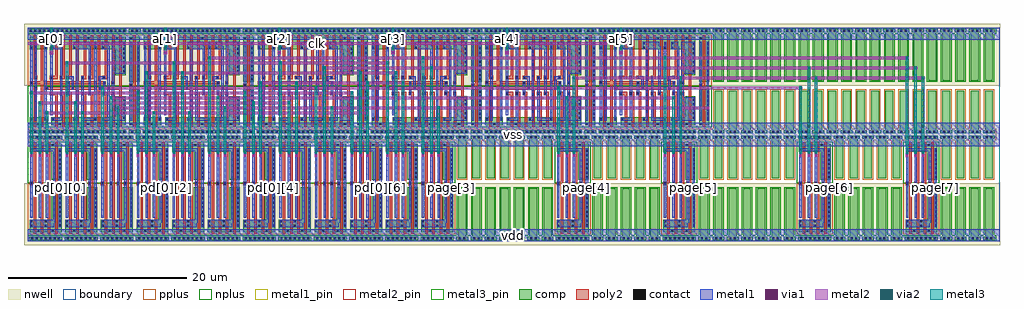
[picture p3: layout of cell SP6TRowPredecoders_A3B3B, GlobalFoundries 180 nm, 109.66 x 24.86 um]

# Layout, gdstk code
import gdstk
lib = gdstk.Library(unit=1e-6, precision=1e-09)
def R(c, l, rs):  # rectangles x0, y0, x1, y1
    for r in rs: c.add(gdstk.rectangle(r[:2], r[2:], *l))
def A(c, l, x, y, w, h, nx, ny, dx, dy):  # array of equal rectangles
    R(c, l, [(x+i*dx, y+j*dy, x+i*dx+w, y+j*dy+h) for i in range(nx) for j in range(ny)])
def P(c, l, *ps):  # polygons
    for p in ps: c.add(gdstk.Polygon(p, *l))
boundary = (0, 0)
nwell = (21, 0)
comp = (22, 0)
poly2 = (30, 0)
pplus = (31, 0)
nplus = (32, 0)
contact = (33, 0)
metal1 = (34, 0)
metal1_pin = (34, 10)
via1 = (35, 0)
metal2 = (36, 0)
metal2_pin = (36, 10)
via2 = (38, 0)
metal3 = (42, 0)
metal3_pin = (42, 10)

dec_dff_x1 = lib.new_cell('Dec_dff_x1')
R(dec_dff_x1, nwell, [(-0.43,5.5,11.63,12.43)])
R(dec_dff_x1, comp, [(0.14,0.14,11.06,0.5), (0.22,1.045,2.18,1.925), (0.22,9.555,2.18,10.955), (0.14,11.5,11.06,11.86)])
P(dec_dff_x1, comp, [(9.84,6.68),(9.84,9.555),(2.62,9.555),(2.62,10.955),(11,10.955),(11,6.68)],
  [(2.62,1.045),(2.62,1.925),(9.84,1.925),(9.84,4.32),(11,4.32),(11,1.045)])
P(dec_dff_x1, poly2, [(1.46,0.825),(1.46,5.62),(0.22,5.62),(0.22,5.98),(1.46,5.98),(1.46,11.175),(1.74,11.175),(1.74,5.98),(5.46,5.98),(5.46,11.175),(5.74,11.175),(5.74,5.98),(7.86,5.98),(7.86,11.175),(8.14,11.175),(8.14,5.98),(8.76,5.98),(8.76,5.62),(1.74,5.62),(1.74,0.825)],
  [(8.66,0.825),(8.66,4.42),(8.4,4.42),(8.4,4.78),(8.94,4.78),(8.94,0.825)],
  [(4.66,0.825),(4.66,4.42),(4.38,4.42),(4.38,4.78),(4.94,4.78),(4.94,0.825)],
  [(0.66,6.22),(0.66,11.175),(0.94,11.175),(0.94,6.58),(1.07,6.58),(1.07,6.22)],
  [(0.66,0.825),(0.66,5.38),(1.07,5.38),(1.07,5.02),(0.94,5.02),(0.94,0.825)],
  [(5.46,0.825),(5.46,5.02),(1.98,5.02),(1.98,5.38),(8.27,5.38),(8.27,5.02),(8.14,5.02),(8.14,0.825),(7.86,0.825),(7.86,5.02),(5.74,5.02),(5.74,0.825)],
  [(4.38,6.22),(4.38,6.58),(4.66,6.58),(4.66,11.175),(4.94,11.175),(4.94,6.22)],
  [(8.38,6.22),(8.38,6.58),(8.66,6.58),(8.66,11.175),(8.94,11.175),(8.94,6.22)],
  [(3.86,0.825),(3.86,4.42),(3.58,4.42),(3.58,4.78),(4.14,4.78),(4.14,0.825)],
  [(3.58,6.22),(3.58,6.58),(3.86,6.58),(3.86,11.175),(4.14,11.175),(4.14,6.22)],
  [(3.06,0.825),(3.06,4.42),(2.47,4.42),(2.47,4.78),(3.34,4.78),(3.34,0.825)],
  [(2.47,6.22),(2.47,6.58),(3.06,6.58),(3.06,11.175),(3.34,11.175),(3.34,6.22)],
  [(7.06,0.825),(7.06,4.42),(6.78,4.42),(6.78,4.78),(7.34,4.78),(7.34,0.825)],
  [(6.78,6.22),(6.78,6.58),(7.06,6.58),(7.06,11.175),(7.34,11.175),(7.34,6.22)],
  [(6.26,0.825),(6.26,4.42),(5.98,4.42),(5.98,4.78),(6.54,4.78),(6.54,0.825)],
  [(5.98,6.22),(5.98,6.58),(6.26,6.58),(6.26,11.175),(6.54,11.175),(6.54,6.22)],
  [(10.28,0.825),(10.28,5.02),(8.89,5.02),(8.89,5.38),(10.28,5.38),(10.28,11.175),(10.56,11.175),(10.56,0.825)],
  [(9.46,0.825),(9.46,4.42),(9.38,4.42),(9.38,4.78),(9.74,4.78),(9.74,0.825)],
  [(9.38,5.62),(9.38,5.98),(9.46,5.98),(9.46,11.175),(9.74,11.175),(9.74,5.62)])
R(dec_dff_x1, pplus, [(-0.02,-0.02,11.22,0.66), (-0.02,5.5,11.22,11.185)])
R(dec_dff_x1, nplus, [(-0.02,0.815,11.22,5.5), (-0.02,11.34,11.22,12.02)])
A(dec_dff_x1, contact, 0.24, 0.21, 0.22, 0.22, 22, 2, 0.5, 11.36)
A(dec_dff_x1, contact, 2.69, 1.63, 0.22, 0.22, 3, 2, 2.4, 8.01)
A(dec_dff_x1, contact, 10.71, 1.775, 0.22, 0.22, 1, 5, 0, 0.5)
A(dec_dff_x1, contact, 10.71, 7.005, 0.22, 0.22, 1, 7, 0, 0.5)
A(dec_dff_x1, contact, 2.69, 10.14, 0.22, 0.22, 3, 1, 2.4, 0)
R(dec_dff_x1, contact, [(1.09,1.115,1.31,1.335), (3.49,1.115,3.71,1.335), (6.69,1.115,6.91,1.335), (9.91,1.115,10.13,1.335), (0.29,1.63,0.51,1.85), (1.89,1.63,2.11,1.85), (8.29,1.63,8.51,1.85), (2.54,4.49,2.76,4.71), (3.65,4.49,3.87,4.71), (4.45,4.49,4.67,4.71), (6.05,4.49,6.27,4.71), (6.85,4.49,7.07,4.71), (8.47,4.49,8.69,4.71), (9.45,4.49,9.67,4.71), (0.78,5.09,1,5.31), (2.05,5.09,2.27,5.31), (4.94,5.09,5.16,5.31), (7.98,5.09,8.2,5.31), (8.96,5.09,9.18,5.31), (0.29,5.69,0.51,5.91), (4.45,5.69,4.67,5.91), (8.47,5.69,8.69,5.91), (9.45,5.69,9.67,5.91), (0.78,6.29,1,6.51), (2.54,6.29,2.76,6.51), (3.65,6.29,3.87,6.51), (4.45,6.29,4.67,6.51), (6.05,6.29,6.27,6.51), (6.85,6.29,7.07,6.51), (8.45,6.29,8.67,6.51), (0.29,9.64,0.51,9.86), (1.89,9.64,2.11,9.86), (8.29,9.64,8.51,9.86), (0.29,10.14,0.51,10.36), (1.89,10.14,2.11,10.36), (8.29,10.14,8.51,10.36), (1.09,10.665,1.31,10.885), (3.49,10.665,3.71,10.885), (6.69,10.665,6.91,10.885), (9.91,10.665,10.13,10.885)])
R(dec_dff_x1, metal1, [(0,0,11.2,1.34), (0.76,1.57,1.02,10.43), (2.52,2.14,2.78,9.35), (4.43,4.43,4.69,5.97), (8.45,4.43,8.71,5.97), (0,10.66,11.2,12)])
P(dec_dff_x1, metal1, [(0.27,1.57),(0.27,9.92),(0.285,9.92),(0.285,10.43),(0.515,10.43),(0.515,9.92),(0.53,9.92),(0.53,1.57)],
  [(1.87,1.57),(1.87,9.92),(1.885,9.92),(1.885,10.43),(2.115,10.43),(2.115,9.92),(2.13,9.92),(2.13,5.37),(2.275,5.37),(2.275,5.03),(2.13,5.03),(2.13,1.57)],
  [(7.96,5.03),(7.96,6.57),(8.675,6.57),(8.675,6.23),(8.22,6.23),(8.22,5.03)],
  [(4.92,5.03),(4.92,6.23),(4.445,6.23),(4.445,6.57),(5.18,6.57),(5.18,5.03)],
  [(2.685,1.57),(2.685,1.91),(3.63,1.91),(3.63,9.58),(2.685,9.58),(2.685,10.43),(3.76,10.43),(3.76,9.92),(3.89,9.92),(3.89,1.57)],
  [(5.085,1.57),(5.085,1.91),(5.41,1.91),(5.41,9.58),(5.085,9.58),(5.085,10.43),(6.96,10.43),(6.96,9.92),(7.09,9.92),(7.09,4.43),(6.83,4.43),(6.83,9.58),(5.67,9.58),(5.67,1.57)],
  [(6.03,1.57),(6.03,6.57),(6.29,6.57),(6.29,1.91),(7.47,1.91),(7.47,9.92),(7.485,9.92),(7.485,10.43),(7.715,10.43),(7.715,9.92),(7.73,9.92),(7.73,1.57)],
  [(8.285,1.57),(8.285,1.91),(8.94,1.91),(8.94,9.58),(8.285,9.58),(8.285,10.43),(9.07,10.43),(9.07,9.92),(9.2,9.92),(9.2,1.57)],
  [(9.43,1.57),(9.43,10.43),(10.935,10.43),(10.935,6.8),(9.69,6.8),(9.69,4.2),(10.935,4.2),(10.935,1.57)])
R(dec_dff_x1, metal1_pin, [(0,0,11.2,1.34), (0.76,1.57,1.02,10.43), (9.43,1.57,9.69,10.43), (2.52,2.14,2.78,9.35), (0,10.66,11.2,12)])
dec_dff_x1.add(gdstk.Label('vdd', (5.6,11.33), layer=34, texttype=10))
dec_dff_x1.add(gdstk.Label('vss', (5.6,0.67), layer=34, texttype=10))
dec_dff_x1.add(gdstk.Label('clk', (0.89,6), layer=34, texttype=10))
dec_dff_x1.add(gdstk.Label('i', (2.65,5.745), layer=34, texttype=10))
dec_dff_x1.add(gdstk.Label('q', (9.56,6), layer=34, texttype=10))

dec_inv_x1 = lib.new_cell('Dec_inv_x1')
R(dec_inv_x1, nwell, [(-0.43,5.5,2.03,12.43)])
R(dec_inv_x1, comp, [(0.14,0.14,1.46,0.5), (0.22,1.045,1.38,5.07), (0.22,5.93,1.38,10.955), (0.14,11.5,1.46,11.86)])
P(dec_inv_x1, poly2, [(0.66,0.825),(0.66,5.32),(0.22,5.32),(0.22,5.68),(0.66,5.68),(0.66,11.175),(0.94,11.175),(0.94,0.825)])
R(dec_inv_x1, pplus, [(-0.02,-0.02,1.62,0.66), (-0.02,5.5,1.62,11.185)])
R(dec_inv_x1, nplus, [(-0.02,0.815,1.62,5.5), (-0.02,11.34,1.62,12.02)])
A(dec_inv_x1, contact, 1.09, 1.705, 0.22, 0.22, 1, 7, 0, 0.5)
A(dec_inv_x1, contact, 1.09, 6.075, 0.22, 0.22, 1, 9, 0, 0.5)
R(dec_inv_x1, contact, [(0.44,0.21,0.66,0.43), (0.94,0.21,1.16,0.43), (0.29,1.115,0.51,1.335), (0.29,5.39,0.51,5.61), (0.29,10.665,0.51,10.885), (0.44,11.57,0.66,11.79), (0.94,11.57,1.16,11.79)])
R(dec_inv_x1, metal1, [(0,0,1.6,1.34), (0.27,1.57,0.53,10.43), (1.07,1.57,1.33,10.43), (0,10.66,1.6,12)])
R(dec_inv_x1, metal1_pin, [(0,0,1.6,1.34), (0.27,1.57,0.53,10.43), (1.07,1.57,1.33,10.43), (0,10.66,1.6,12)])
dec_inv_x1.add(gdstk.Label('vss', (0.8,0.67), layer=34, texttype=10))
dec_inv_x1.add(gdstk.Label('vdd', (0.8,11.33), layer=34, texttype=10))
dec_inv_x1.add(gdstk.Label('nq', (1.2,6), layer=34, texttype=10))
dec_inv_x1.add(gdstk.Label('i', (0.4,6), layer=34, texttype=10))

dec_tie_diff_w2 = lib.new_cell('Dec_tie_diff_w2')
R(dec_tie_diff_w2, nwell, [(-0.43,5.5,2.03,12.43)])
P(dec_tie_diff_w2, comp, [(0.36,6.06),(0.36,11.5),(0.14,11.5),(0.14,11.86),(1.46,11.86),(1.46,11.5),(1.24,11.5),(1.24,6.06)],
  [(0.14,0.14),(0.14,0.5),(0.36,0.5),(0.36,4.94),(1.24,4.94),(1.24,0.5),(1.46,0.5),(1.46,0.14)])
P(dec_tie_diff_w2, pplus, [(-0.02,-0.02),(-0.02,0.66),(0.2,0.66),(0.2,5.1),(1.4,5.1),(1.4,0.66),(1.62,0.66),(1.62,-0.02)])
P(dec_tie_diff_w2, nplus, [(0.2,5.9),(0.2,11.34),(-0.02,11.34),(-0.02,12.02),(1.62,12.02),(1.62,11.34),(1.4,11.34),(1.4,5.9)])
R(dec_tie_diff_w2, contact, [(0.44,0.21,0.66,0.43), (0.94,0.21,1.16,0.43), (0.44,11.57,0.66,11.79), (0.94,11.57,1.16,11.79)])
R(dec_tie_diff_w2, metal1, [(0,0,1.6,1.34), (0,10.66,1.6,12)])
R(dec_tie_diff_w2, metal1_pin, [(0,0,1.6,1.34), (0,10.66,1.6,12)])
dec_tie_diff_w2.add(gdstk.Label('vdd', (0.8,11.33), layer=34, texttype=10))
dec_tie_diff_w2.add(gdstk.Label('vss', (0.8,0.67), layer=34, texttype=10))

dec_and3_x1 = lib.new_cell('Dec_and3_x1')
R(dec_and3_x1, nwell, [(-0.43,5.5,4.43,12.43)])
R(dec_and3_x1, comp, [(0.14,0.14,3.86,0.5), (0.14,11.5,3.86,11.86)])
P(dec_and3_x1, comp, [(2.64,5.93),(2.64,9.555),(0.22,9.555),(0.22,10.955),(3.8,10.955),(3.8,5.93)],
  [(0.22,1.045),(0.22,1.925),(2.64,1.925),(2.64,5.07),(3.8,5.07),(3.8,1.045)])
P(dec_and3_x1, poly2, [(3.08,0.825),(3.08,5.32),(2.78,5.32),(2.78,5.68),(3.08,5.68),(3.08,11.175),(3.36,11.175),(3.36,0.825)],
  [(0.66,0.825),(0.66,5.32),(0.22,5.32),(0.22,5.68),(0.66,5.68),(0.66,11.175),(0.94,11.175),(0.94,0.825)],
  [(1.46,0.825),(1.46,5.32),(1.18,5.32),(1.18,5.68),(1.46,5.68),(1.46,11.175),(1.74,11.175),(1.74,0.825)],
  [(2.26,0.825),(2.26,5.32),(1.98,5.32),(1.98,5.68),(2.26,5.68),(2.26,11.175),(2.54,11.175),(2.54,0.825)])
R(dec_and3_x1, pplus, [(-0.02,-0.02,4.02,0.66), (-0.02,5.5,4.02,11.185)])
R(dec_and3_x1, nplus, [(-0.02,0.815,4.02,5.5), (-0.02,11.34,4.02,12.02)])
A(dec_and3_x1, contact, 0.39, 0.21, 0.22, 0.22, 7, 2, 0.5, 11.36)
A(dec_and3_x1, contact, 3.51, 1.705, 0.22, 0.22, 1, 7, 0, 0.5)
A(dec_and3_x1, contact, 1.25, 5.39, 0.22, 0.22, 3, 1, 0.8, 0)
A(dec_and3_x1, contact, 3.51, 6.075, 0.22, 0.22, 1, 9, 0, 0.5)
R(dec_and3_x1, contact, [(2.71,1.115,2.93,1.335), (0.29,1.63,0.51,1.85), (0.29,5.39,0.51,5.61), (0.29,9.64,0.51,9.86), (1.89,9.64,2.11,9.86), (0.29,10.14,0.51,10.36), (1.89,10.14,2.11,10.36), (1.09,10.665,1.31,10.885), (2.71,10.665,2.93,10.885)])
R(dec_and3_x1, metal1, [(0,0,4,1.34), (3.49,1.57,3.75,10.43), (0.27,2.14,0.53,9.35), (1.23,2.14,1.49,9.35), (2.03,2.14,2.29,9.35), (0,10.66,4,12)])
P(dec_and3_x1, metal1, [(0.285,1.57),(0.285,1.91),(2.83,1.91),(2.83,9.58),(0.285,9.58),(0.285,10.43),(2.96,10.43),(2.96,9.92),(3.09,9.92),(3.09,1.57)])
R(dec_and3_x1, metal1_pin, [(0,0,4,1.34), (3.49,1.57,3.75,10.43), (0.27,2.14,0.53,9.35), (1.23,2.14,1.49,9.35), (2.03,2.14,2.29,9.35), (0,10.66,4,12)])
dec_and3_x1.add(gdstk.Label('vdd', (2,11.33), layer=34, texttype=10))
dec_and3_x1.add(gdstk.Label('vss', (2,0.67), layer=34, texttype=10))
dec_and3_x1.add(gdstk.Label('i0', (0.4,5.745), layer=34, texttype=10))
dec_and3_x1.add(gdstk.Label('i1', (1.36,5.745), layer=34, texttype=10))
dec_and3_x1.add(gdstk.Label('i2', (2.16,5.745), layer=34, texttype=10))
dec_and3_x1.add(gdstk.Label('q', (3.62,6), layer=34, texttype=10))

sp6trowpredecoders_a3b3b = lib.new_cell('SP6TRowPredecoders_A3B3B')
R(sp6trowpredecoders_a3b3b, boundary, [(0,0,109.2,24)])
A(sp6trowpredecoders_a3b3b, metal1, 3.49, 1.57, 0.26, 8.86, 12, 1, 4, 0)
A(sp6trowpredecoders_a3b3b, metal1, 2.52, 20.97, 0.26, 0.38, 6, 1, 12.8, 0)
A(sp6trowpredecoders_a3b3b, metal1, 0.76, 22.05, 0.26, 0.38, 6, 1, 12.8, 0)
R(sp6trowpredecoders_a3b3b, metal1, [(0,0,109.2,1.34), (62.69,1.57,62.95,10.43), (74.69,1.57,74.95,10.43), (89.89,1.57,90.15,10.43), (101.89,1.57,102.15,10.43), (0.27,9.48,0.53,9.86), (1.23,9.48,1.49,9.86), (2.03,9.48,2.29,9.86), (4.27,9.48,4.53,9.86), (5.23,9.48,5.49,9.86), (6.03,9.48,6.29,9.86), (8.27,9.48,8.53,9.86), (9.23,9.48,9.49,9.86), (10.03,9.48,10.29,9.86), (12.27,9.48,12.53,9.86), (13.23,9.48,13.49,9.86), (14.03,9.48,14.29,9.86), (16.27,9.48,16.53,9.86), (17.23,9.48,17.49,9.86), (18.03,9.48,18.29,9.86), (20.27,9.48,20.53,9.86), (21.23,9.48,21.49,9.86), (22.03,9.48,22.29,9.86), (24.27,9.48,24.53,9.86), (25.23,9.48,25.49,9.86), (26.03,9.48,26.29,9.86), (28.27,9.48,28.53,9.86), (29.23,9.48,29.49,9.86), (30.03,9.48,30.29,9.86), (32.27,9.48,32.53,9.86), (33.23,9.48,33.49,9.86), (34.03,9.48,34.29,9.86), (36.27,9.48,36.53,9.86), (37.23,9.48,37.49,9.86), (38.03,9.48,38.29,9.86), (40.27,9.48,40.53,9.86), (41.23,9.48,41.49,9.86), (42.03,9.48,42.29,9.86), (44.27,9.48,44.53,9.86), (45.23,9.48,45.49,9.86), (46.03,9.48,46.29,9.86), (59.47,9.48,59.73,9.86), (60.43,9.48,60.69,9.86), (61.23,9.48,61.49,9.86), (71.47,9.48,71.73,9.86), (72.43,9.48,72.69,9.86), (73.23,9.48,73.49,9.86), (86.67,9.48,86.93,9.86), (87.63,9.48,87.89,9.86), (88.43,9.48,88.69,9.86), (98.67,9.48,98.93,9.86), (99.63,9.48,99.89,9.86), (100.43,9.48,100.69,9.86), (0,10.66,109.2,13.34), (37.87,14.25,38.13,14.63), (76.27,14.81,76.53,15.19), (25.07,15.37,25.33,15.75), (63.47,15.93,63.73,16.31), (12.27,16.49,12.53,16.87), (50.67,17.05,50.93,17.43), (35.03,17.61,35.29,17.99), (37.07,17.61,37.33,17.99), (73.43,18.17,73.69,18.55), (75.47,18.17,75.73,18.55), (22.23,18.73,22.49,19.11), (24.27,18.73,24.53,19.11), (60.63,19.29,60.89,19.67), (62.67,19.29,62.93,19.67), (9.43,19.85,9.69,20.23), (11.47,19.85,11.73,20.23), (47.83,20.41,48.09,20.79), (49.87,20.41,50.13,20.79), (0,22.66,109.2,24)])
A(sp6trowpredecoders_a3b3b, metal1_pin, 3.49, 1.57, 0.26, 8.86, 12, 1, 4, 0)
R(sp6trowpredecoders_a3b3b, metal1_pin, [(0,0,109.2,1.34), (62.69,1.57,62.95,10.43), (74.69,1.57,74.95,10.43), (89.89,1.57,90.15,10.43), (101.89,1.57,102.15,10.43), (0,10.66,109.2,13.34), (0,22.66,109.2,24)])
A(sp6trowpredecoders_a3b3b, via1, 2.52, 21.03, 0.26, 0.26, 6, 1, 12.8, 0)
A(sp6trowpredecoders_a3b3b, via1, 0.76, 22.11, 0.26, 0.26, 6, 1, 12.8, 0)
R(sp6trowpredecoders_a3b3b, via1, [(0.27,9.54,0.53,9.8), (1.23,9.54,1.49,9.8), (2.03,9.54,2.29,9.8), (4.27,9.54,4.53,9.8), (5.23,9.54,5.49,9.8), (6.03,9.54,6.29,9.8), (8.27,9.54,8.53,9.8), (9.23,9.54,9.49,9.8), (10.03,9.54,10.29,9.8), (12.27,9.54,12.53,9.8), (13.23,9.54,13.49,9.8), (14.03,9.54,14.29,9.8), (16.27,9.54,16.53,9.8), (17.23,9.54,17.49,9.8), (18.03,9.54,18.29,9.8), (20.27,9.54,20.53,9.8), (21.23,9.54,21.49,9.8), (22.03,9.54,22.29,9.8), (24.27,9.54,24.53,9.8), (25.23,9.54,25.49,9.8), (26.03,9.54,26.29,9.8), (28.27,9.54,28.53,9.8), (29.23,9.54,29.49,9.8), (30.03,9.54,30.29,9.8), (32.27,9.54,32.53,9.8), (33.23,9.54,33.49,9.8), (34.03,9.54,34.29,9.8), (36.27,9.54,36.53,9.8), (37.23,9.54,37.49,9.8), (38.03,9.54,38.29,9.8), (40.27,9.54,40.53,9.8), (41.23,9.54,41.49,9.8), (42.03,9.54,42.29,9.8), (44.27,9.54,44.53,9.8), (45.23,9.54,45.49,9.8), (46.03,9.54,46.29,9.8), (59.47,9.54,59.73,9.8), (60.43,9.54,60.69,9.8), (61.23,9.54,61.49,9.8), (71.47,9.54,71.73,9.8), (72.43,9.54,72.69,9.8), (73.23,9.54,73.49,9.8), (86.67,9.54,86.93,9.8), (87.63,9.54,87.89,9.8), (88.43,9.54,88.69,9.8), (98.67,9.54,98.93,9.8), (99.63,9.54,99.89,9.8), (100.43,9.54,100.69,9.8), (37.87,14.31,38.13,14.57), (76.27,14.87,76.53,15.13), (25.07,15.43,25.33,15.69), (63.47,15.99,63.73,16.25), (12.27,16.55,12.53,16.81), (50.67,17.11,50.93,17.37), (35.03,17.67,35.29,17.93), (37.07,17.67,37.33,17.93), (73.43,18.23,73.69,18.49), (75.47,18.23,75.73,18.49), (22.23,18.79,22.49,19.05), (24.27,18.79,24.53,19.05), (60.63,19.35,60.89,19.61), (62.67,19.35,62.93,19.61), (9.43,19.91,9.69,20.17), (11.47,19.91,11.73,20.17), (47.83,20.47,48.09,20.73), (49.87,20.47,50.13,20.73)])
A(sp6trowpredecoders_a3b3b, metal2, 2.46, 21.02, 0.38, 0.8, 6, 1, 12.8, 0)
R(sp6trowpredecoders_a3b3b, metal2, [(0.26,9.48,0.54,10.24), (1.22,9.48,1.5,10.24), (2.02,9.48,2.3,10.24), (4.26,9.48,4.54,10.24), (5.22,9.48,5.5,10.24), (6.02,9.48,6.3,10.24), (8.26,9.48,8.54,10.24), (9.22,9.48,9.5,10.24), (10.02,9.48,10.3,10.24), (12.26,9.48,12.54,10.24), (13.22,9.48,13.5,10.24), (14.02,9.48,14.3,10.24), (16.26,9.48,16.54,10.24), (17.22,9.48,17.5,10.24), (18.02,9.48,18.3,10.24), (20.26,9.48,20.54,10.24), (21.22,9.48,21.5,10.24), (22.02,9.48,22.3,10.24), (24.26,9.48,24.54,10.24), (25.22,9.48,25.5,10.24), (26.02,9.48,26.3,10.24), (28.26,9.48,28.54,10.24), (29.22,9.48,29.5,10.24), (30.02,9.48,30.3,10.24), (32.26,9.48,32.54,10.24), (33.22,9.48,33.5,10.24), (34.02,9.48,34.3,10.24), (36.26,9.48,36.54,10.24), (37.22,9.48,37.5,10.24), (38.02,9.48,38.3,10.24), (40.26,9.48,40.54,10.24), (41.22,9.48,41.5,10.24), (42.02,9.48,42.3,10.24), (44.26,9.48,44.54,10.24), (45.22,9.48,45.5,10.24), (46.02,9.48,46.3,10.24), (59.46,9.48,59.74,10.24), (60.42,9.48,60.7,10.24), (61.22,9.48,61.5,10.24), (71.46,9.48,71.74,10.24), (72.42,9.48,72.7,10.24), (73.22,9.48,73.5,10.24), (86.66,9.48,86.94,10.24), (87.62,9.48,87.9,10.24), (88.42,9.48,88.7,10.24), (98.66,9.48,98.94,10.24), (99.62,9.48,99.9,10.24), (100.42,9.48,100.7,10.24), (1.97,14.3,38.19,14.58), (9.97,14.86,76.59,15.14), (1.17,15.42,29.55,15.7), (9.17,15.98,72.75,16.26), (0.21,16.54,36.59,16.82), (8.21,17.1,86.99,17.38), (25.97,17.66,42.35,17.94), (61.17,18.22,100.75,18.5), (13.17,18.78,41.55,19.06), (33.17,19.34,99.95,19.62), (4.21,19.9,40.59,20.18), (20.21,20.46,98.99,20.74), (0,22.1,65.08,22.38)])
R(sp6trowpredecoders_a3b3b, metal2_pin, [(0,22.1,65.08,22.38)])
A(sp6trowpredecoders_a3b3b, via2, 10.03, 14.87, 0.26, 0.26, 4, 1, 12, 0)
A(sp6trowpredecoders_a3b3b, via2, 0.27, 16.55, 0.26, 0.26, 4, 1, 12, 0)
A(sp6trowpredecoders_a3b3b, via2, 32.27, 17.11, 0.26, 0.26, 3, 1, 27.2, 0)
A(sp6trowpredecoders_a3b3b, via2, 4.27, 19.91, 0.26, 0.26, 4, 1, 12, 0)
A(sp6trowpredecoders_a3b3b, via2, 44.27, 20.47, 0.26, 0.26, 3, 1, 27.2, 0)
A(sp6trowpredecoders_a3b3b, via2, 2.52, 21.55, 0.26, 0.26, 6, 1, 12.8, 0)
R(sp6trowpredecoders_a3b3b, via2, [(0.27,9.92,0.53,10.18), (1.23,9.92,1.49,10.18), (2.03,9.92,2.29,10.18), (4.27,9.92,4.53,10.18), (5.23,9.92,5.49,10.18), (6.03,9.92,6.29,10.18), (8.27,9.92,8.53,10.18), (9.23,9.92,9.49,10.18), (10.03,9.92,10.29,10.18), (12.27,9.92,12.53,10.18), (13.23,9.92,13.49,10.18), (14.03,9.92,14.29,10.18), (16.27,9.92,16.53,10.18), (17.23,9.92,17.49,10.18), (18.03,9.92,18.29,10.18), (20.27,9.92,20.53,10.18), (21.23,9.92,21.49,10.18), (22.03,9.92,22.29,10.18), (24.27,9.92,24.53,10.18), (25.23,9.92,25.49,10.18), (26.03,9.92,26.29,10.18), (28.27,9.92,28.53,10.18), (29.23,9.92,29.49,10.18), (30.03,9.92,30.29,10.18), (32.27,9.92,32.53,10.18), (33.23,9.92,33.49,10.18), (34.03,9.92,34.29,10.18), (36.27,9.92,36.53,10.18), (37.23,9.92,37.49,10.18), (38.03,9.92,38.29,10.18), (40.27,9.92,40.53,10.18), (41.23,9.92,41.49,10.18), (42.03,9.92,42.29,10.18), (44.27,9.92,44.53,10.18), (45.23,9.92,45.49,10.18), (46.03,9.92,46.29,10.18), (59.47,9.92,59.73,10.18), (60.43,9.92,60.69,10.18), (61.23,9.92,61.49,10.18), (71.47,9.92,71.73,10.18), (72.43,9.92,72.69,10.18), (73.23,9.92,73.49,10.18), (86.67,9.92,86.93,10.18), (87.63,9.92,87.89,10.18), (88.43,9.92,88.69,10.18), (98.67,9.92,98.93,10.18), (99.63,9.92,99.89,10.18), (100.43,9.92,100.69,10.18), (2.03,14.31,2.29,14.57), (6.03,14.31,6.29,14.57), (14.03,14.31,14.29,14.57), (18.03,14.31,18.29,14.57), (1.23,15.43,1.49,15.69), (5.23,15.43,5.49,15.69), (25.23,15.43,25.49,15.69), (29.23,15.43,29.49,15.69), (9.23,15.99,9.49,16.25), (21.23,15.99,21.49,16.25), (60.43,15.99,60.69,16.25), (72.43,15.99,72.69,16.25), (8.27,17.11,8.53,17.37), (26.03,17.67,26.29,17.93), (30.03,17.67,30.29,17.93), (38.03,17.67,38.29,17.93), (42.03,17.67,42.29,17.93), (61.23,18.23,61.49,18.49), (73.23,18.23,73.49,18.49), (88.43,18.23,88.69,18.49), (100.43,18.23,100.69,18.49), (13.23,18.79,13.49,19.05), (17.23,18.79,17.49,19.05), (37.23,18.79,37.49,19.05), (41.23,18.79,41.49,19.05), (33.23,19.35,33.49,19.61), (45.23,19.35,45.49,19.61), (87.63,19.35,87.89,19.61), (99.63,19.35,99.89,19.61), (20.27,20.47,20.53,20.73)])
A(sp6trowpredecoders_a3b3b, metal3, 0.26, 9.86, 0.28, 7.01, 4, 1, 12, 0)
A(sp6trowpredecoders_a3b3b, metal3, 4.26, 9.86, 0.28, 10.37, 4, 1, 12, 0)
A(sp6trowpredecoders_a3b3b, metal3, 10.02, 9.86, 0.28, 5.33, 4, 1, 12, 0)
A(sp6trowpredecoders_a3b3b, metal3, 32.26, 9.86, 0.28, 7.57, 3, 1, 27.2, 0)
A(sp6trowpredecoders_a3b3b, metal3, 44.26, 9.86, 0.28, 10.93, 3, 1, 27.2, 0)
A(sp6trowpredecoders_a3b3b, metal3, 2.51, 21.49, 0.28, 2.51, 6, 1, 12.8, 0)
R(sp6trowpredecoders_a3b3b, metal3, [(1.22,9.86,1.5,15.75), (2.02,9.86,2.3,14.63), (5.22,9.86,5.5,15.75), (6.02,9.86,6.3,14.63), (8.26,9.86,8.54,17.43), (9.22,9.86,9.5,16.31), (13.22,9.86,13.5,19.11), (14.02,9.86,14.3,14.63), (17.22,9.86,17.5,19.11), (18.02,9.86,18.3,14.63), (20.26,9.86,20.54,20.79), (21.22,9.86,21.5,16.31), (25.22,9.86,25.5,15.75), (26.02,9.86,26.3,17.99), (29.22,9.86,29.5,15.75), (30.02,9.86,30.3,17.99), (33.22,9.86,33.5,19.67), (37.22,9.86,37.5,19.11), (38.02,9.86,38.3,17.99), (41.22,9.86,41.5,19.11), (42.02,9.86,42.3,17.99), (45.22,9.86,45.5,19.67), (60.42,9.86,60.7,16.31), (61.22,9.86,61.5,18.55), (72.42,9.86,72.7,16.31), (73.22,9.86,73.5,18.55), (87.62,9.86,87.9,19.67), (88.42,9.86,88.7,18.55), (99.62,9.86,99.9,19.67), (100.42,9.86,100.7,18.55)])
A(sp6trowpredecoders_a3b3b, metal3_pin, 2.51, 21.49, 0.28, 2.51, 6, 1, 12.8, 0)
sp6trowpredecoders_a3b3b.add(gdstk.Reference(dec_dff_x1, (0,12)))
sp6trowpredecoders_a3b3b.add(gdstk.Reference(dec_inv_x1, (11.2,12)))
sp6trowpredecoders_a3b3b.add(gdstk.Reference(dec_dff_x1, (12.8,12)))
sp6trowpredecoders_a3b3b.add(gdstk.Reference(dec_inv_x1, (24,12)))
sp6trowpredecoders_a3b3b.add(gdstk.Reference(dec_dff_x1, (25.6,12)))
sp6trowpredecoders_a3b3b.add(gdstk.Reference(dec_inv_x1, (36.8,12)))
sp6trowpredecoders_a3b3b.add(gdstk.Reference(dec_dff_x1, (38.4,12)))
sp6trowpredecoders_a3b3b.add(gdstk.Reference(dec_inv_x1, (49.6,12)))
sp6trowpredecoders_a3b3b.add(gdstk.Reference(dec_dff_x1, (51.2,12)))
sp6trowpredecoders_a3b3b.add(gdstk.Reference(dec_inv_x1, (62.4,12)))
sp6trowpredecoders_a3b3b.add(gdstk.Reference(dec_dff_x1, (64,12)))
sp6trowpredecoders_a3b3b.add(gdstk.Reference(dec_inv_x1, (75.2,12)))
sp6trowpredecoders_a3b3b.add(gdstk.Reference(dec_tie_diff_w2, (76.8,12)))
sp6trowpredecoders_a3b3b.add(gdstk.Reference(dec_tie_diff_w2, (78.4,12)))
sp6trowpredecoders_a3b3b.add(gdstk.Reference(dec_tie_diff_w2, (80,12)))
sp6trowpredecoders_a3b3b.add(gdstk.Reference(dec_tie_diff_w2, (81.6,12)))
sp6trowpredecoders_a3b3b.add(gdstk.Reference(dec_tie_diff_w2, (83.2,12)))
sp6trowpredecoders_a3b3b.add(gdstk.Reference(dec_tie_diff_w2, (84.8,12)))
sp6trowpredecoders_a3b3b.add(gdstk.Reference(dec_tie_diff_w2, (86.4,12)))
sp6trowpredecoders_a3b3b.add(gdstk.Reference(dec_tie_diff_w2, (88,12)))
sp6trowpredecoders_a3b3b.add(gdstk.Reference(dec_tie_diff_w2, (89.6,12)))
sp6trowpredecoders_a3b3b.add(gdstk.Reference(dec_tie_diff_w2, (91.2,12)))
sp6trowpredecoders_a3b3b.add(gdstk.Reference(dec_tie_diff_w2, (92.8,12)))
sp6trowpredecoders_a3b3b.add(gdstk.Reference(dec_tie_diff_w2, (94.4,12)))
sp6trowpredecoders_a3b3b.add(gdstk.Reference(dec_tie_diff_w2, (96,12)))
sp6trowpredecoders_a3b3b.add(gdstk.Reference(dec_tie_diff_w2, (97.6,12)))
sp6trowpredecoders_a3b3b.add(gdstk.Reference(dec_tie_diff_w2, (99.2,12)))
sp6trowpredecoders_a3b3b.add(gdstk.Reference(dec_tie_diff_w2, (100.8,12)))
sp6trowpredecoders_a3b3b.add(gdstk.Reference(dec_tie_diff_w2, (102.4,12)))
sp6trowpredecoders_a3b3b.add(gdstk.Reference(dec_tie_diff_w2, (104,12)))
sp6trowpredecoders_a3b3b.add(gdstk.Reference(dec_tie_diff_w2, (105.6,12)))
sp6trowpredecoders_a3b3b.add(gdstk.Reference(dec_tie_diff_w2, (107.2,12)))
sp6trowpredecoders_a3b3b.add(gdstk.Reference(dec_and3_x1, (0,12), x_reflection=True))
sp6trowpredecoders_a3b3b.add(gdstk.Reference(dec_and3_x1, (4,12), x_reflection=True))
sp6trowpredecoders_a3b3b.add(gdstk.Reference(dec_and3_x1, (8,12), x_reflection=True))
sp6trowpredecoders_a3b3b.add(gdstk.Reference(dec_and3_x1, (12,12), x_reflection=True))
sp6trowpredecoders_a3b3b.add(gdstk.Reference(dec_and3_x1, (16,12), x_reflection=True))
sp6trowpredecoders_a3b3b.add(gdstk.Reference(dec_and3_x1, (20,12), x_reflection=True))
sp6trowpredecoders_a3b3b.add(gdstk.Reference(dec_and3_x1, (24,12), x_reflection=True))
sp6trowpredecoders_a3b3b.add(gdstk.Reference(dec_and3_x1, (28,12), x_reflection=True))
sp6trowpredecoders_a3b3b.add(gdstk.Reference(dec_and3_x1, (32,12), x_reflection=True))
sp6trowpredecoders_a3b3b.add(gdstk.Reference(dec_and3_x1, (36,12), x_reflection=True))
sp6trowpredecoders_a3b3b.add(gdstk.Reference(dec_and3_x1, (40,12), x_reflection=True))
sp6trowpredecoders_a3b3b.add(gdstk.Reference(dec_and3_x1, (44,12), x_reflection=True))
sp6trowpredecoders_a3b3b.add(gdstk.Reference(dec_tie_diff_w2, (48,12), x_reflection=True))
sp6trowpredecoders_a3b3b.add(gdstk.Reference(dec_tie_diff_w2, (49.6,12), x_reflection=True))
sp6trowpredecoders_a3b3b.add(gdstk.Reference(dec_tie_diff_w2, (51.2,12), x_reflection=True))
sp6trowpredecoders_a3b3b.add(gdstk.Reference(dec_tie_diff_w2, (52.8,12), x_reflection=True))
sp6trowpredecoders_a3b3b.add(gdstk.Reference(dec_tie_diff_w2, (54.4,12), x_reflection=True))
sp6trowpredecoders_a3b3b.add(gdstk.Reference(dec_tie_diff_w2, (56,12), x_reflection=True))
sp6trowpredecoders_a3b3b.add(gdstk.Reference(dec_tie_diff_w2, (57.6,12), x_reflection=True))
sp6trowpredecoders_a3b3b.add(gdstk.Reference(dec_and3_x1, (59.2,12), x_reflection=True))
sp6trowpredecoders_a3b3b.add(gdstk.Reference(dec_tie_diff_w2, (63.2,12), x_reflection=True))
sp6trowpredecoders_a3b3b.add(gdstk.Reference(dec_tie_diff_w2, (64.8,12), x_reflection=True))
sp6trowpredecoders_a3b3b.add(gdstk.Reference(dec_tie_diff_w2, (66.4,12), x_reflection=True))
sp6trowpredecoders_a3b3b.add(gdstk.Reference(dec_tie_diff_w2, (68,12), x_reflection=True))
sp6trowpredecoders_a3b3b.add(gdstk.Reference(dec_tie_diff_w2, (69.6,12), x_reflection=True))
sp6trowpredecoders_a3b3b.add(gdstk.Reference(dec_and3_x1, (71.2,12), x_reflection=True))
sp6trowpredecoders_a3b3b.add(gdstk.Reference(dec_tie_diff_w2, (75.2,12), x_reflection=True))
sp6trowpredecoders_a3b3b.add(gdstk.Reference(dec_tie_diff_w2, (76.8,12), x_reflection=True))
sp6trowpredecoders_a3b3b.add(gdstk.Reference(dec_tie_diff_w2, (78.4,12), x_reflection=True))
sp6trowpredecoders_a3b3b.add(gdstk.Reference(dec_tie_diff_w2, (80,12), x_reflection=True))
sp6trowpredecoders_a3b3b.add(gdstk.Reference(dec_tie_diff_w2, (81.6,12), x_reflection=True))
sp6trowpredecoders_a3b3b.add(gdstk.Reference(dec_tie_diff_w2, (83.2,12), x_reflection=True))
sp6trowpredecoders_a3b3b.add(gdstk.Reference(dec_tie_diff_w2, (84.8,12), x_reflection=True))
sp6trowpredecoders_a3b3b.add(gdstk.Reference(dec_and3_x1, (86.4,12), x_reflection=True))
sp6trowpredecoders_a3b3b.add(gdstk.Reference(dec_tie_diff_w2, (90.4,12), x_reflection=True))
sp6trowpredecoders_a3b3b.add(gdstk.Reference(dec_tie_diff_w2, (92,12), x_reflection=True))
sp6trowpredecoders_a3b3b.add(gdstk.Reference(dec_tie_diff_w2, (93.6,12), x_reflection=True))
sp6trowpredecoders_a3b3b.add(gdstk.Reference(dec_tie_diff_w2, (95.2,12), x_reflection=True))
sp6trowpredecoders_a3b3b.add(gdstk.Reference(dec_tie_diff_w2, (96.8,12), x_reflection=True))
sp6trowpredecoders_a3b3b.add(gdstk.Reference(dec_and3_x1, (98.4,12), x_reflection=True))
sp6trowpredecoders_a3b3b.add(gdstk.Reference(dec_tie_diff_w2, (102.4,12), x_reflection=True))
sp6trowpredecoders_a3b3b.add(gdstk.Reference(dec_tie_diff_w2, (104,12), x_reflection=True))
sp6trowpredecoders_a3b3b.add(gdstk.Reference(dec_tie_diff_w2, (105.6,12), x_reflection=True))
sp6trowpredecoders_a3b3b.add(gdstk.Reference(dec_tie_diff_w2, (107.2,12), x_reflection=True))
sp6trowpredecoders_a3b3b.add(gdstk.Label('a[0]', (2.65,22.745), layer=42, texttype=10))
sp6trowpredecoders_a3b3b.add(gdstk.Label('a[1]', (15.45,22.745), layer=42, texttype=10))
sp6trowpredecoders_a3b3b.add(gdstk.Label('a[2]', (28.25,22.745), layer=42, texttype=10))
sp6trowpredecoders_a3b3b.add(gdstk.Label('a[3]', (41.05,22.745), layer=42, texttype=10))
sp6trowpredecoders_a3b3b.add(gdstk.Label('a[4]', (53.85,22.745), layer=42, texttype=10))
sp6trowpredecoders_a3b3b.add(gdstk.Label('a[5]', (66.65,22.745), layer=42, texttype=10))
sp6trowpredecoders_a3b3b.add(gdstk.Label('clk', (32.54,22.24), layer=36, texttype=10))
sp6trowpredecoders_a3b3b.add(gdstk.Label('vss', (54.6,12), layer=34, texttype=10))
sp6trowpredecoders_a3b3b.add(gdstk.Label('vdd', (54.6,23.33), layer=34, texttype=10))
sp6trowpredecoders_a3b3b.add(gdstk.Label('vdd', (54.6,0.67), layer=34, texttype=10))
sp6trowpredecoders_a3b3b.add(gdstk.Label('pd[0][0]', (3.62,6), layer=34, texttype=10))
sp6trowpredecoders_a3b3b.add(gdstk.Label('pd[0][1]', (7.62,6), layer=34, texttype=10))
sp6trowpredecoders_a3b3b.add(gdstk.Label('pd[0][2]', (15.62,6), layer=34, texttype=10))
sp6trowpredecoders_a3b3b.add(gdstk.Label('pd[0][3]', (19.62,6), layer=34, texttype=10))
sp6trowpredecoders_a3b3b.add(gdstk.Label('pd[0][4]', (27.62,6), layer=34, texttype=10))
sp6trowpredecoders_a3b3b.add(gdstk.Label('pd[0][5]', (31.62,6), layer=34, texttype=10))
sp6trowpredecoders_a3b3b.add(gdstk.Label('pd[0][6]', (39.62,6), layer=34, texttype=10))
sp6trowpredecoders_a3b3b.add(gdstk.Label('pd[0][7]', (43.62,6), layer=34, texttype=10))
sp6trowpredecoders_a3b3b.add(gdstk.Label('page[0]', (11.62,6), layer=34, texttype=10))
sp6trowpredecoders_a3b3b.add(gdstk.Label('page[1]', (23.62,6), layer=34, texttype=10))
sp6trowpredecoders_a3b3b.add(gdstk.Label('page[2]', (35.62,6), layer=34, texttype=10))
sp6trowpredecoders_a3b3b.add(gdstk.Label('page[3]', (47.62,6), layer=34, texttype=10))
sp6trowpredecoders_a3b3b.add(gdstk.Label('page[4]', (62.82,6), layer=34, texttype=10))
sp6trowpredecoders_a3b3b.add(gdstk.Label('page[5]', (74.82,6), layer=34, texttype=10))
sp6trowpredecoders_a3b3b.add(gdstk.Label('page[6]', (90.02,6), layer=34, texttype=10))
sp6trowpredecoders_a3b3b.add(gdstk.Label('page[7]', (102.02,6), layer=34, texttype=10))

lib.write_gds('SP6TRowPredecoders_A3B3B.gds')
